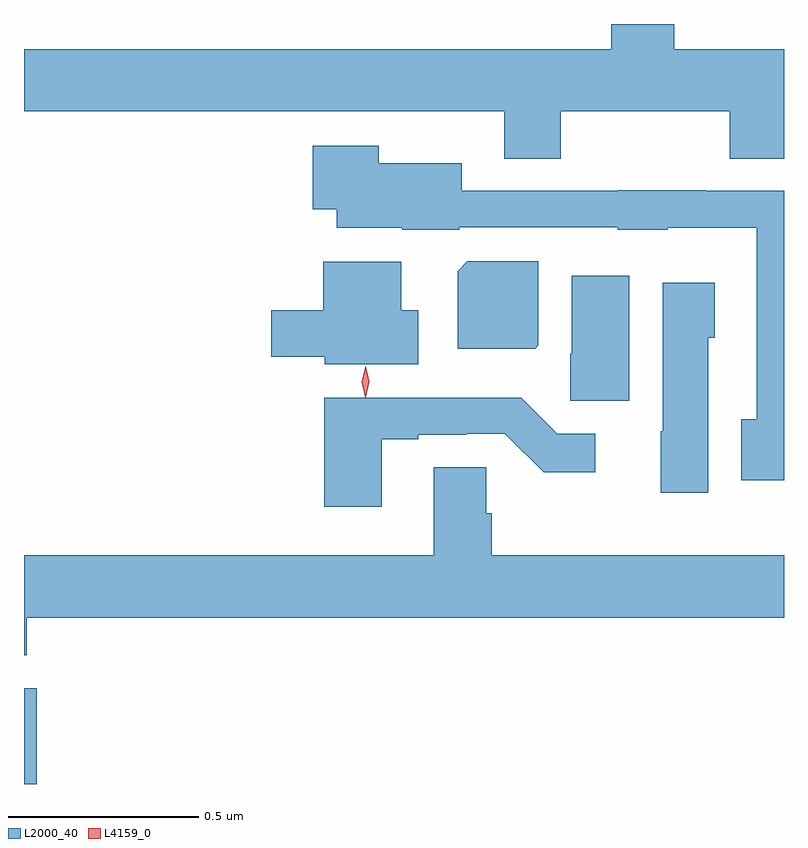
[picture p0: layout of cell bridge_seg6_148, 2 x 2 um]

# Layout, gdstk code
import gdstk
lib = gdstk.Library(unit=1e-6, precision=1e-09)
def R(c, l, rs):  # rectangles x0, y0, x1, y1
    for r in rs: c.add(gdstk.rectangle(r[:2], r[2:], *l))
def P(c, l, *ps):  # polygons
    for p in ps: c.add(gdstk.Polygon(p, *l))
L2000_40 = (2000, 40)
L4159_0 = (4159, 0)

bridge_seg6_148 = lib.new_cell('bridge_seg6_148')
R(bridge_seg6_148, L2000_40, [(541.753,924.254,541.787,924.506)])
P(bridge_seg6_148, L2000_40, [(541.753,926.024),(543.017,926.024),(543.017,925.9),(543.165,925.9),(543.165,926.024),(543.61,926.024),(543.61,925.9),(543.753,925.9),(543.753,926.188),(543.464,926.188),(543.464,926.254),(543.299,926.254),(543.299,926.188),(541.753,926.188)],
  [(543.753,925.815),(543.547,925.815),(543.547,925.817),(543.315,925.817),(543.315,925.815),(542.905,925.815),(542.905,925.888),(542.686,925.888),(542.686,925.933),(542.513,925.933),(542.513,925.766),(542.576,925.766),(542.576,925.718),(542.748,925.718),(542.748,925.712),(542.898,925.712),(542.898,925.719),(543.315,925.719),(543.315,925.712),(543.447,925.712),(543.447,925.718),(543.681,925.718),(543.681,925.214),(543.641,925.214),(543.641,925.053),(543.753,925.053)],
  [(543.106,925.408),(543.106,925.63),(542.92,925.63),(542.894,925.604),(542.894,925.4),(543.098,925.4)],
  [(542.791,925.501),(542.746,925.501),(542.746,925.628),(542.54,925.628),(542.54,925.501),(542.403,925.501),(542.403,925.379),(542.544,925.379),(542.544,925.358),(542.791,925.358)],
  [(543.346,925.591),(543.194,925.591),(543.194,925.386),(543.19,925.386),(543.19,925.263),(543.346,925.263)],
  [(543.553,925.428),(543.571,925.428),(543.571,925.573),(543.434,925.573),(543.434,925.182),(543.428,925.182),(543.428,925.02),(543.553,925.02)],
  [(542.695,925.161),(542.791,925.161),(542.791,925.173),(542.918,925.173),(542.918,925.176),(543.018,925.176),(543.121,925.074),(543.256,925.074),(543.256,925.176),(543.156,925.176),(543.061,925.271),(542.787,925.271),(542.787,925.27),(542.543,925.27),(542.543,924.984),(542.695,924.984)],
  [(541.76,924.692),(543.753,924.692),(543.753,924.856),(542.984,924.856),(542.984,924.966),(542.97,924.966),(542.97,925.088),(542.831,925.088),(542.831,924.856),(541.753,924.856),(541.753,924.593),(541.76,924.593)])
P(bridge_seg6_148, L4159_0, [(542.652,925.271),(542.651,925.272),(542.642,925.312),(542.652,925.353),(542.652,925.354),(542.652,925.353),(542.662,925.312),(542.652,925.272)])

lib.write_gds('bridge_seg6_148.gds')
